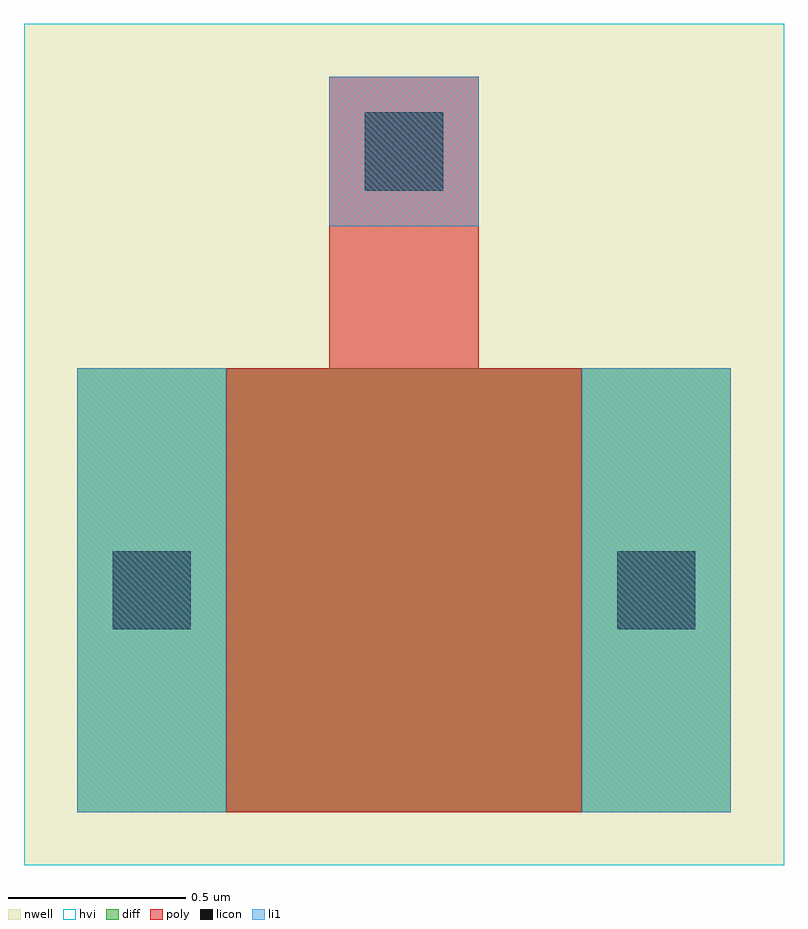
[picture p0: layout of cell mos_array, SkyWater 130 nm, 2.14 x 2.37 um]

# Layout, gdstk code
import gdstk
lib = gdstk.Library(unit=1e-6, precision=1e-09)
def R(c, l, rs):  # rectangles x0, y0, x1, y1
    for r in rs: c.add(gdstk.rectangle(r[:2], r[2:], *l))
nwell = (64, 20)
diff = (65, 20)
poly = (66, 20)
licon = (66, 44)
li1 = (67, 20)
hvi = (75, 20)

mos_array = lib.new_cell('mos_array')
R(mos_array, nwell, [(-0.15,-0.15,1.99,2.22)])
R(mos_array, diff, [(0,0,1.84,1.25)])
R(mos_array, poly, [(0.42,0,1.42,1.25), (0.71,1.25,1.13,2.07)])
R(mos_array, licon, [(0.1,0.515,0.32,0.735), (1.52,0.515,1.74,0.735), (0.81,1.75,1.03,1.97)])
R(mos_array, li1, [(0,0,0.42,1.25), (1.42,0,1.84,1.25), (0.71,1.65,1.13,2.07)])
R(mos_array, hvi, [(-0.15,-0.15,1.99,2.22)])

lib.write_gds('mos_array.gds')
